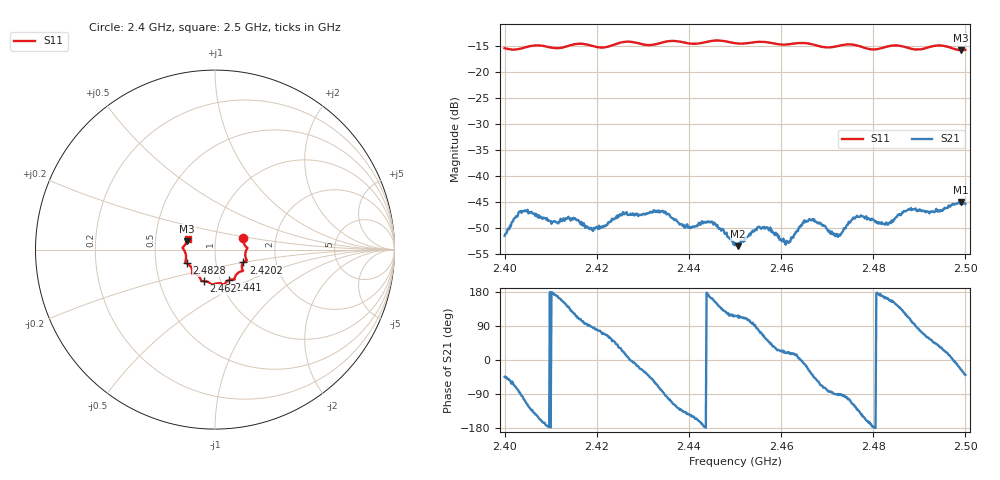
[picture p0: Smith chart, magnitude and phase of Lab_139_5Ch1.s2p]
# Hz S RI R 50
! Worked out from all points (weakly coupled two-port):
!   601 points, 2.4 GHz to 2.5 GHz, reference 50 ohm
!   highest |S21| = -44.96 dB at 2.499 GHz (marker M1); lowest = -53.4 dB at 2.4507 GHz (marker M2)
!   lowest |S11| = -15.8 dB at 2.499 GHz (marker M3), VSWR 1.39, Z = 36.4 + j3.53 ohm
!   |S11| at or under -10 dB: start of sweep to end of sweep
!   S12 and S22 are empty: the file has one direction only
!   S11 on the Smith chart (normalised r, x): 2.4 GHz: 1.36, +0.17; 2.4202 GHz: 1.36, -0.20; 2.441 GHz: 1.10, -0.39; 2.462 GHz: 0.84, -0.30; 2.4828 GHz: 0.72, -0.11; 2.5 GHz: 0.73, +0.09
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2.4e9  0.1582 0.0622  0.00191 -0.00188  0 0  0 0
2.4045e9  0.172 0.0165  -0.00158 -0.00443  0 0  0 0
2.410167e9  0.1718 -0.00832  -0.00349 6.06e-05  0 0  0 0
2.416667e9  0.1772 -0.0607  -0.000884 0.00354  0 0  0 0
2.420167e9  0.1581 -0.0716  0.000568 0.00312  0 0  0 0
2.426e9  0.1559 -0.1176  0.00409 0.00133  0 0  0 0
2.433333e9  0.1116 -0.1512  0.00159 -0.0044  0 0  0 0
2.441e9  0.0784 -0.1699  -0.00279 -0.00168  0 0  0 0
2.445333e9  0.0514 -0.1939  -0.00319 0.00128  0 0  0 0
2.45e9  0.0282 -0.1878  -0.000979 0.00193  0 0  0 0
2.450667e9  0.0214 -0.1871  -0.00098 0.00189  0 0  0 0
2.455333e9  -0.0138 -0.1951  0.000803 0.00315  0 0  0 0
2.462e9  -0.0607 -0.1758  0.00227 0.000629  0 0  0 0
2.466667e9  -0.0789 -0.1681  0.00297 -0.00231  0 0  0 0
2.472167e9  -0.1149 -0.1353  -6.8e-05 -0.00278  0 0  0 0
2.476833e9  -0.1271 -0.1255  -0.00283 -0.00291  0 0  0 0
2.482833e9  -0.1576 -0.0765  -0.00344 0.00106  0 0  0 0
2.483333e9  -0.1608 -0.0751  -0.00329 0.00116  0 0  0 0
2.487667e9  -0.1622 -0.0529  -0.00181 0.00447  0 0  0 0
2.492667e9  -0.1765 0.00301  0.00279 0.00363  0 0  0 0
2.499e9  -0.1555 0.0472  0.00511 -0.00241  0 0  0 0
2.5e9  -0.1522 0.0611  0.0042 -0.00344  0 0  0 0
